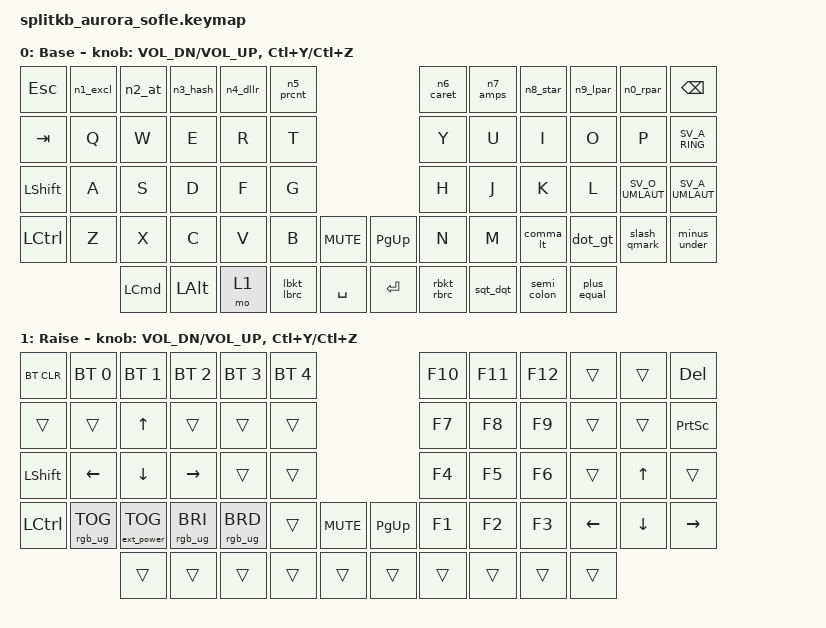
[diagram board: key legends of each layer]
/*
 * Copyright (c) 2023 The ZMK Contributors
 *
 * SPDX-License-Identifier: MIT
 */

#include <behaviors.dtsi>
#include <dt-bindings/zmk/keys.h>
#include <dt-bindings/zmk/bt.h>
#include <dt-bindings/zmk/ext_power.h>
#include <dt-bindings/zmk/rgb.h>
#include <dt-bindings/zmk/mouse.h>
#include "keys_sv.h"

&led_strip {
    /*
     * Must stay 35: tested 2026-08-27 — <29> darkened the bottom-row
     * per-key LEDs, so that row sits at the TAIL of the chain and the
     * underglow LEDs cannot be dropped by shortening chain-length.
     */
    chain-length = <35>; // 29 per-key + 6 underglow per side
};

/ {
    // ---------- Behaviors ----------

    behaviors {
        // Brackets

        lbkt_lbrc: bracket_brace_left {
            compatible = "zmk,behavior-mod-morph";
            #binding-cells = <0>;
            bindings = <&kp SV_LBKT>, <&kp SV_LBRC>;
            mods = <(MOD_LSFT|MOD_RSFT)>;
        };

        rbkt_rbrc: bracket_brace_right {
            compatible = "zmk,behavior-mod-morph";
            #binding-cells = <0>;
            bindings = <&kp SV_RBKT>, <&kp SV_RBRC>;
            mods = <(MOD_LSFT|MOD_RSFT)>;
        };

        // Comma / Dot / Semicolon / Plus

        comma_lt: comma_less {
            compatible = "zmk,behavior-mod-morph";
            #binding-cells = <0>;
            bindings = <&kp SV_COMMA>, <&kp SV_LT>;
            mods = <(MOD_LSFT|MOD_RSFT)>;
        };

        dot_gt: dot_greater {
            compatible = "zmk,behavior-mod-morph";
            #binding-cells = <0>;
            bindings = <&kp SV_DOT>, <&kp SV_GT>;
            mods = <(MOD_LSFT|MOD_RSFT)>;
        };

        semi_colon: semi_colon {
            compatible = "zmk,behavior-mod-morph";
            #binding-cells = <0>;
            bindings = <&kp SV_SEMI>, <&kp SV_COLON>;
            mods = <(MOD_LSFT|MOD_RSFT)>;
        };

        plus_equal: plus_equal {
            compatible = "zmk,behavior-mod-morph";
            #binding-cells = <0>;
            bindings = <&kp SV_PLUS>, <&kp SV_EQUAL>;
            mods = <(MOD_LSFT|MOD_RSFT)>;
        };

        // Numbers with US-style shifted symbols

        n1_excl: n1_excl {
            compatible = "zmk,behavior-mod-morph";
            #binding-cells = <0>;
            bindings = <&kp SV_N1>, <&kp SV_EXCL>;
            mods = <(MOD_LSFT|MOD_RSFT)>;
        };

        n2_at: n2_at {
            compatible = "zmk,behavior-mod-morph";
            #binding-cells = <0>;
            bindings = <&kp SV_N2>, <&kp SV_AT>;
            mods = <(MOD_LSFT|MOD_RSFT)>;
        };

        n3_hash: n3_hash {
            compatible = "zmk,behavior-mod-morph";
            #binding-cells = <0>;
            bindings = <&kp SV_N3>, <&kp SV_HASH>;
            mods = <(MOD_LSFT|MOD_RSFT)>;
        };

        n4_dllr: n4_dllr {
            compatible = "zmk,behavior-mod-morph";
            #binding-cells = <0>;
            bindings = <&kp SV_N4>, <&kp SV_DLLR>;
            mods = <(MOD_LSFT|MOD_RSFT)>;
        };

        n5_prcnt: n5_prcnt {
            compatible = "zmk,behavior-mod-morph";
            #binding-cells = <0>;
            bindings = <&kp SV_N5>, <&kp SV_PRCNT>;
            mods = <(MOD_LSFT|MOD_RSFT)>;
        };

        n6_caret: n6_caret {
            compatible = "zmk,behavior-mod-morph";
            #binding-cells = <0>;
            bindings = <&kp SV_N6>, <&kp SV_CARET>;
            mods = <(MOD_LSFT|MOD_RSFT)>;
        };

        n7_amps: n7_amps {
            compatible = "zmk,behavior-mod-morph";
            #binding-cells = <0>;
            bindings = <&kp SV_N7>, <&kp SV_AMPS>;
            mods = <(MOD_LSFT|MOD_RSFT)>;
        };

        n8_star: n8_star {
            compatible = "zmk,behavior-mod-morph";
            #binding-cells = <0>;
            bindings = <&kp SV_N8>, <&kp SV_STAR>;
            mods = <(MOD_LSFT|MOD_RSFT)>;
        };

        n9_lpar: n9_lpar {
            compatible = "zmk,behavior-mod-morph";
            #binding-cells = <0>;
            bindings = <&kp SV_N9>, <&kp SV_LPAR>;
            mods = <(MOD_LSFT|MOD_RSFT)>;
        };

        n0_rpar: n0_rpar {
            compatible = "zmk,behavior-mod-morph";
            #binding-cells = <0>;
            bindings = <&kp SV_N0>, <&kp SV_RPAR>;
            mods = <(MOD_LSFT|MOD_RSFT)>;
        };

        // Single / Double quote

        sqt_dqt: sqt_dqt {
            compatible = "zmk,behavior-mod-morph";
            #binding-cells = <0>;
            bindings = <&kp SV_SQT>, <&kp SV_DQT>;
            mods = <(MOD_LSFT|MOD_RSFT)>;
        };

        // Slash / Question

        slash_qmark: slash_qmark {
            compatible = "zmk,behavior-mod-morph";
            #binding-cells = <0>;
            bindings = <&kp SV_FSLH>, <&kp SV_QUESTION>;
            mods = <(MOD_LSFT|MOD_RSFT)>;
        };

        // Backslash / Tilde

        bslash_tilde: bslash_tilde {
            compatible = "zmk,behavior-mod-morph";
            #binding-cells = <0>;
            bindings = <&kp SV_BSLH>, <&kp SV_TILDE>;
            mods = <(MOD_LSFT|MOD_RSFT)>;
        };

        // Minus / Underscore
        
        minus_under: minus_under {
            compatible = "zmk,behavior-mod-morph";
            #binding-cells = <0>;
            bindings = <&kp SV_MINUS>, <&kp SV_UNDER>;
            mods = <(MOD_LSFT|MOD_RSFT)>;
        };
    };

    keymap {
        compatible = "zmk,keymap";

        default_layer {
            display-name = "Base";
// ------------------------------------------------------------------------------------------------------------
// |  ESC  |  1! |  2@ |  3#  |  4$  |  5%  |                   |  6^  |  7&  |  8*  |  9(  |  0)  | BSPC  |
// |  TAB  |  Q  |  W  |  E   |  R   |  T   |                   |  Y   |  U   |  I   |  O   |  P   |   Å   |
// | SHIFT |  A  |  S  |  D   |  F   |  G   |                   |  H   |  J   |  K   |  L   |  Ö   |   Ä   |
// | CTRL  |  Z  |  X  |  C   |  V   |  B   | MUTE  |  | PGUP  |  N   |  M   |  ,<  |  .>  |  /?  |  -_   |
//               | CMD | ALT  |RAISE | [{   | SPACE |  | ENTER | ]}   |  '"  |  ;:  |  +=  |
            bindings = <
&kp ESC    &n1_excl  &n2_at  &n3_hash  &n4_dllr  &n5_prcnt                                  &n6_caret    &n7_amps     &n8_star   &n9_lpar  &n0_rpar         &kp BACKSPACE
&kp TAB    &kp Q     &kp W   &kp E     &kp R     &kp T                                      &kp Y        &kp U        &kp I      &kp O     &kp P            &kp SV_A_RING
&kp LSHFT  &kp A     &kp S   &kp D     &kp F     &kp G                                      &kp H        &kp J        &kp K      &kp L     &kp SV_O_UMLAUT  &kp SV_A_UMLAUT
&kp LCTRL  &kp Z     &kp X   &kp C     &kp V     &kp B       &kp C_MUTE    &kp PG_UP        &kp N        &kp M        &comma_lt  &dot_gt   &slash_qmark     &minus_under
                     &kp LCMD  &kp LALT  &mo 1   &lbkt_lbrc  &kp SPACE     &kp ENTER        &rbkt_rbrc   &sqt_dqt     &semi_colon &plus_equal
            >;

            sensor-bindings = <&inc_dec_kp C_VOL_DN C_VOL_UP &inc_dec_kp LC(Y) LC(Z)>;
        };

        raise_layer {
            display-name = "Raise";
// ------------------------------------------------------------------------------------------------------------
// | BTCLR | BT0 | BT1  | BT2  | BT3  | BT4  |                   | F10  | F11  | F12  |      |      |  DEL  |
// |       |     |  ↑   |      |      |      |                   |  F7  |  F8  |  F9  |      |      | PSCRN |
// | SHIFT |  ←  |  ↓   |  →   |      |      |                   |  F4  |  F5  |  F6  |      |  ↑   |       |
// | CTRL  |     |      |      |      |      | MUTE  |  | PGUP  |  F1  |  F2  |  F3  |  ←   |  ↓   |   →   |
//               |     |      |      |      |       |  |        |      |      |      |      |
            bindings = <
&bt BT_CLR  &bt BT_SEL 0  &bt BT_SEL 1  &bt BT_SEL 2  &bt BT_SEL 3  &bt BT_SEL 4                         &kp F10  &kp F11  &kp F12  &trans    &trans    &kp DEL
&trans      &trans        &kp UP        &trans        &trans        &trans                               &kp F7   &kp F8   &kp F9   &trans    &trans    &kp PSCRN
&kp LSHFT   &kp LEFT      &kp DOWN      &kp RIGHT     &trans        &trans                               &kp F4   &kp F5   &kp F6   &trans    &kp UP    &trans
&kp LCTRL   &rgb_ug RGB_TOG        &ext_power EP_TOG        &rgb_ug RGB_BRI        &rgb_ug RGB_BRD        &trans        &kp C_MUTE    &kp PG_UP        &kp F1   &kp F2   &kp F3   &kp LEFT  &kp DOWN  &kp RIGHT
                          &trans        &trans        &trans        &trans        &trans        &trans           &trans   &trans   &trans   &trans
            >;

            sensor-bindings = <&inc_dec_kp C_VOL_DN C_VOL_UP &inc_dec_kp LC(Y) LC(Z)>;
        };
    };
};
